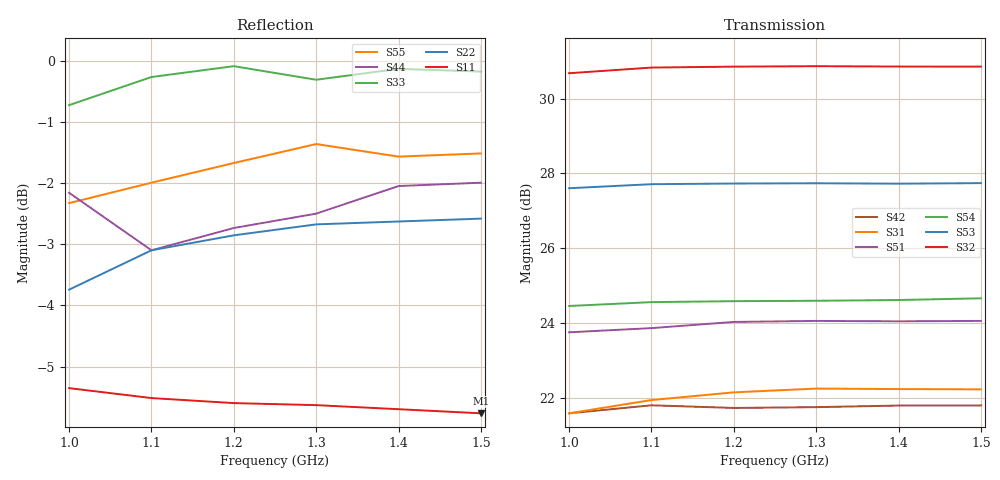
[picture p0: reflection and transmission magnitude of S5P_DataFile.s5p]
! Example of a correctly formatted S5P five port Touchstone S-parameter data file
! # GHZ S MA R 50
! freq1 magS11  angS11  magS12  angS12  magS13  angS13  magS14  angS14
!  magS15  angS15  magS21  angS21  magS22  angS22  magS23  angS23
!  magS24  angS24  magS25  angS25  magS31  angS31  magS32  angS32
!  magS33  angS33  magS34  angS34  magS35  angS35  magS41  angS41
!  magS42  angS42  magS43  angS43  magS44  angS44  magS45  angS45
!  magS51  angS51  magS52  angS52  magS53  angS53  magS54  angS54
!  magS55  angS55
! freq2 magS11  angS11  magS12  angS12  magS13  angS13  magS14  angS14
!  magS15  angS15  magS21  angS21  magS22  angS22  magS23  angS23
!  magS24  angS24  magS25  angS25  magS31  angS31  magS32  angS32
!  magS33  angS33  magS34  angS34  magS35  angS35  magS41  angS41
!  magS42  angS42  magS43  angS43  magS44  angS44  magS45  angS45
!  magS51  angS51  magS52  angS52  magS53  angS53  magS54  angS54
!  magS55  angS55
# GHZ S MA R 50
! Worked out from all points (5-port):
!   6 points, 1 GHz to 1.5 GHz, reference 50 ohm
!   strongest paths, dB at 1 GHz, 1.1 GHz, 1.3 GHz, 1.4 GHz, 1.5 GHz:
!     S32: 30.7, 30.8, 30.9, 30.9, 30.9
!     S53: 27.6, 27.7, 27.7, 27.7, 27.7
!     S54: 24.5, 24.6, 24.6, 24.6, 24.7
!     S51: 23.8, 23.9, 24.1, 24.0, 24.1
!     S31: 21.6, 21.9, 22.2, 22.2, 22.2
!     S42: 21.6, 21.8, 21.7, 21.8, 21.8
!   lowest |S11| = -5.8 dB at 1.5 GHz (marker M1), VSWR 3.12, Z = 98.4 + j69 ohm
!   |S11| at or under -10 dB: nowhere
